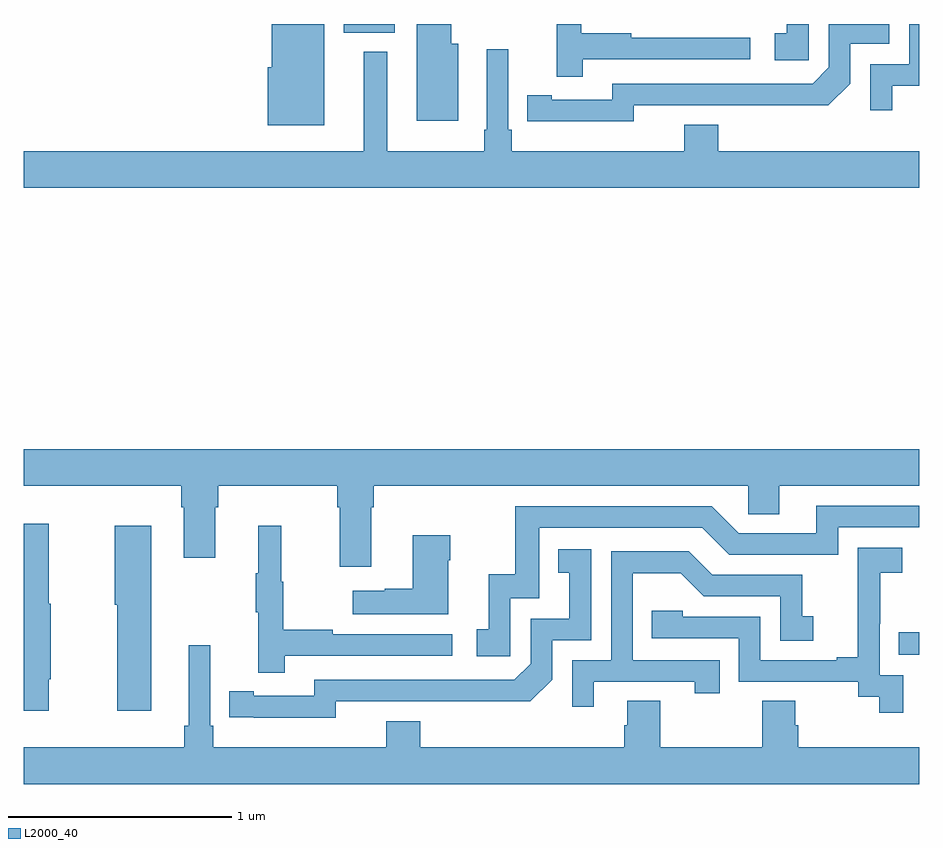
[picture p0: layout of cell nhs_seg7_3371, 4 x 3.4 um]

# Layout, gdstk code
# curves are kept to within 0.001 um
import gdstk
lib = gdstk.Library(unit=1e-6, precision=1e-09)
def R(c, l, rs):  # rectangles x0, y0, x1, y1
    for r in rs: c.add(gdstk.rectangle(r[:2], r[2:], *l))
def P(c, l, *ps):  # polygons
    for p in ps: c.add(gdstk.Polygon(p, *l))
L2000_40 = (2000, 40)

nhs_seg7_3371 = lib.new_cell('nhs_seg7_3371')
R(nhs_seg7_3371, L2000_40, [(328.909,1013.181,329,1013.282), (326.429,1015.961,326.656,1016)])
P(nhs_seg7_3371, L2000_40, [(326.341,1016),(326.108,1016),(326.108,1015.806),(326.09,1015.806),(326.09,1015.547),(326.341,1015.547)],
  [(328.879,1015.725),(329,1015.725),(329,1016),(328.956,1016),(328.956,1015.821),(328.782,1015.821),(328.782,1015.614),(328.879,1015.614)],
  [(327.726,1015.638),(328.594,1015.637),(328.692,1015.734),(328.692,1015.911),(328.866,1015.911),(328.866,1016),(328.596,1016),(328.596,1015.806),(328.524,1015.734),(327.63,1015.734),(327.63,1015.662),(327.358,1015.662),(327.358,1015.682),(327.25,1015.682),(327.25,1015.566),(327.726,1015.565)],
  [(328.506,1016),(328.409,1016),(328.409,1015.959),(328.356,1015.959),(328.356,1015.839),(328.506,1015.839)],
  [(327.497,1015.842),(328.246,1015.842),(328.246,1015.938),(327.713,1015.938),(327.713,1015.958),(327.49,1015.958),(327.49,1016),(327.38,1016),(327.38,1015.764),(327.497,1015.764)],
  [(326.941,1015.912),(326.91,1015.912),(326.91,1016),(326.756,1016),(326.756,1015.568),(326.941,1015.568)],
  [(329,1015.432),(328.103,1015.432),(328.103,1015.549),(327.95,1015.549),(327.95,1015.432),(327.179,1015.432),(327.179,1015.528),(327.165,1015.528),(327.165,1015.888),(327.069,1015.888),(327.069,1015.528),(327.057,1015.528),(327.057,1015.432),(326.623,1015.432),(326.623,1015.876),(326.519,1015.876),(326.519,1015.432),(325,1015.432),(325,1015.268),(329,1015.268)],
  [(326.551,1013.84),(326.564,1013.84),(326.564,1013.936),(328.236,1013.936),(328.236,1013.809),(328.375,1013.809),(328.375,1013.936),(329,1013.936),(329,1014.1),(325,1014.1),(325,1013.936),(325.703,1013.936),(325.703,1013.84),(325.715,1013.84),(325.715,1013.616),(325.855,1013.616),(325.855,1013.84),(325.868,1013.84),(325.868,1013.936),(326.399,1013.936),(326.399,1013.84),(326.411,1013.84),(326.411,1013.574),(326.551,1013.574)],
  [(327.174,1013.433),(327.303,1013.433),(327.303,1013.748),(328.032,1013.748),(328.152,1013.628),(328.638,1013.628),(328.638,1013.751),(329,1013.751),(329,1013.847),(328.541,1013.847),(328.541,1013.724),(328.194,1013.724),(328.074,1013.844),(327.195,1013.844),(327.195,1013.542),(327.077,1013.542),(327.077,1013.295),(327.024,1013.295),(327.024,1013.175),(327.174,1013.175)],
  [(325.11,1013.073),(325.12,1013.073),(325.12,1013.409),(325.11,1013.409),(325.11,1013.767),(325,1013.767),(325,1012.932),(325.11,1012.932)],
  [(326.165,1013.178),(326.914,1013.178),(326.914,1013.274),(326.381,1013.274),(326.381,1013.294),(326.158,1013.294),(326.158,1013.508),(326.15,1013.508),(326.15,1013.758),(326.048,1013.758),(326.048,1013.545),(326.037,1013.545),(326.037,1013.371),(326.048,1013.371),(326.048,1013.1),(326.165,1013.1)],
  [(325.57,1013.758),(325.406,1013.758),(325.406,1013.406),(325.417,1013.406),(325.417,1012.932),(325.57,1012.932)],
  [(326.896,1013.603),(326.904,1013.603),(326.904,1013.716),(326.738,1013.716),(326.738,1013.477),(326.612,1013.477),(326.612,1013.467),(326.469,1013.467),(326.469,1013.363),(326.896,1013.363)],
  [(328.929,1013.091),(328.824,1013.091),(328.824,1013.321),(328.826,1013.321),(328.826,1013.549),(328.924,1013.549),(328.924,1013.659),(328.726,1013.659),(328.726,1013.453),(328.727,1013.453),(328.727,1013.17),(328.631,1013.17),(328.631,1013.157),(328.29,1013.157),(328.29,1013.352),(327.945,1013.352),(327.945,1013.379),(327.805,1013.379),(327.805,1013.256),(328.194,1013.256),(328.194,1013.061),(328.728,1013.061),(328.728,1012.993),(328.821,1012.993),(328.821,1012.923),(328.929,1012.923)],
  [(326.394,1012.974),(327.262,1012.973),(327.36,1013.07),(327.36,1013.247),(327.534,1013.247),(327.534,1013.653),(327.388,1013.653),(327.388,1013.547),(327.437,1013.547),(327.437,1013.343),(327.264,1013.343),(327.264,1013.142),(327.192,1013.07),(326.298,1013.07),(326.298,1012.998),(326.026,1012.998),(326.026,1013.018),(325.918,1013.018),(325.918,1012.902),(326.394,1012.901)],
  [(327.547,1013.061),(327.998,1013.061),(327.998,1013.01),(328.109,1013.01),(328.109,1013.157),(327.72,1013.157),(327.72,1013.546),(327.934,1013.546),(328.038,1013.442),(328.38,1013.442),(328.38,1013.244),(328.528,1013.244),(328.528,1013.353),(328.479,1013.353),(328.479,1013.538),(328.075,1013.538),(327.97,1013.643),(327.624,1013.643),(327.624,1013.157),(327.45,1013.157),(327.45,1012.95),(327.547,1012.95)],
  [(329,1012.768),(328.46,1012.768),(328.46,1012.866),(328.447,1012.866),(328.447,1012.976),(328.3,1012.976),(328.3,1012.768),(327.843,1012.768),(327.843,1012.976),(327.695,1012.976),(327.695,1012.866),(327.683,1012.866),(327.683,1012.768),(326.771,1012.768),(326.771,1012.885),(326.618,1012.885),(326.618,1012.768),(325.847,1012.768),(325.847,1012.864),(325.833,1012.864),(325.833,1013.224),(325.736,1013.224),(325.736,1012.864),(325.717,1012.864),(325.717,1012.768),(325,1012.768),(325,1012.604),(329,1012.604)])

lib.write_gds('nhs_seg7_3371.gds')
